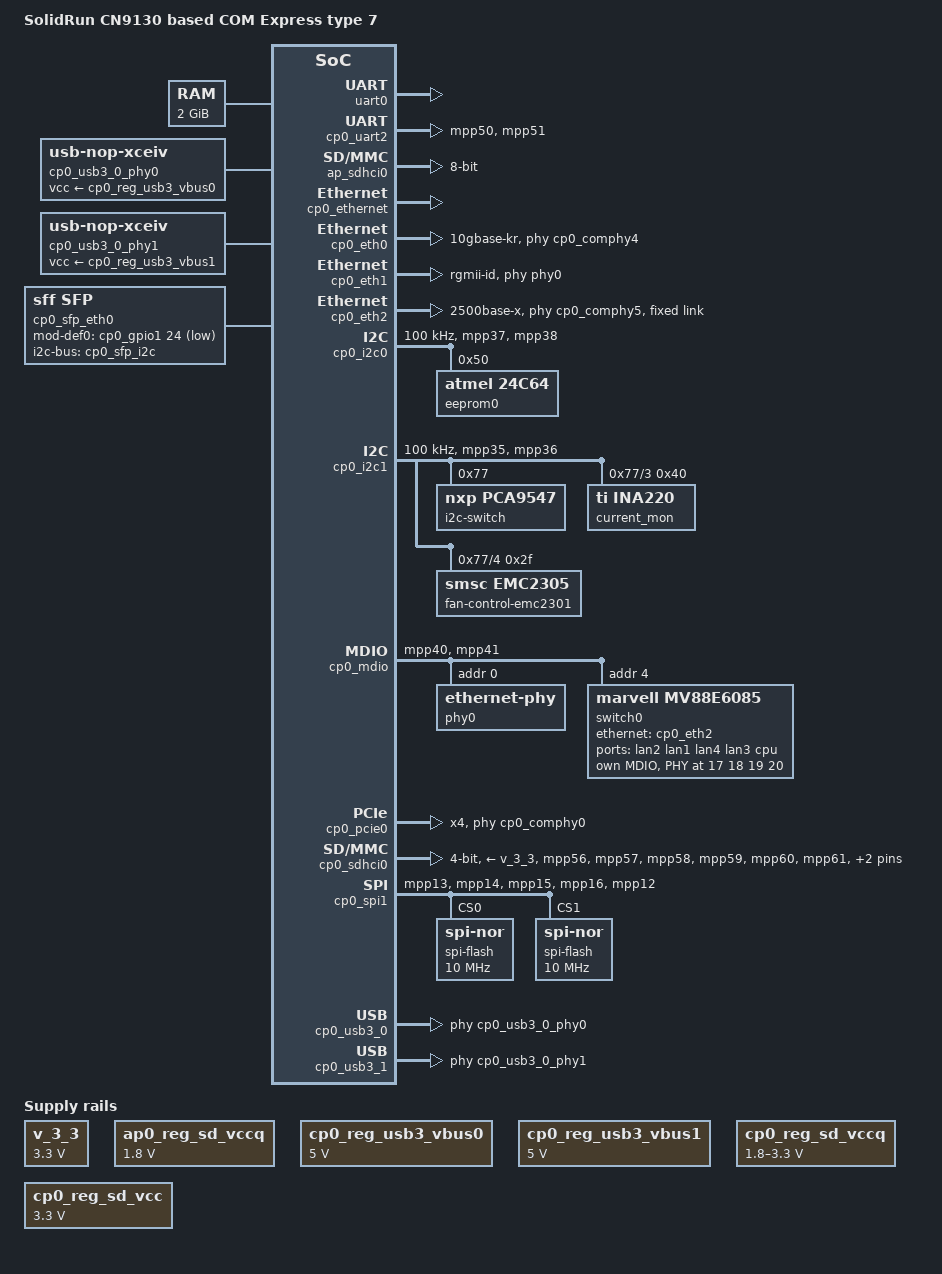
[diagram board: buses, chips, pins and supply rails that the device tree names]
// SPDX-License-Identifier: (GPL-2.0+ OR MIT)
/*
 * Copyright SolidRun Ltd.
 *
 * Device tree for the  CN9130 based COM Express type 7 board.
 */

#define GPIO_ACTIVE_HIGH 0
#define GPIO_ACTIVE_LOW  1

#include "cn9130.dtsi"

/ {
        model = "SolidRun CN9130 based COM Express type 7";

        chosen {
                stdout-path = "serial0:115200n8";
        };

        aliases {
                gpio1 = &cp0_gpio1;
                gpio2 = &cp0_gpio2;
                i2c0 = &cp0_i2c0;
                ethernet0 = &cp0_eth0; // SFP+ Port
                ethernet1 = &cp0_eth1; // RGMII
                ethernet2 = &cp0_eth2; // HS-SGMII
                spi1 = &cp0_spi0;
                spi2 = &cp0_spi1;
        };

        memory@00000000 {
                device_type = "memory";
                reg = <0x0 0x0 0x0 0x80000000>;
        };
        v_3_3: regulator-3-3v {
                compatible = "regulator-fixed";
                regulator-name = "v_3_3";
                regulator-min-microvolt = <3300000>;
                regulator-max-microvolt = <3300000>;
                regulator-always-on;
                status = "okay";
        };
        ap0_reg_sd_vccq: ap0_sd_vccq@0 {
                compatible = "regulator-gpio";
                regulator-name = "ap0_sd_vccq";
                regulator-min-microvolt = <1800000>;
                regulator-max-microvolt = <1800000>;
                states = <1800000 0x1 3300000 0x0>;
        };

        cp0_reg_usb3_vbus0: cp0_usb3_vbus@0 {
                compatible = "regulator-fixed";
                regulator-name = "cp0-xhci0-vbus";
                regulator-min-microvolt = <5000000>;
                regulator-max-microvolt = <5000000>;
                enable-active-high;
        };

        cp0_usb3_0_phy0: cp0_usb3_phy@0 {
                compatible = "usb-nop-xceiv";
                vcc-supply = <&cp0_reg_usb3_vbus0>;
        };

        cp0_reg_usb3_vbus1: cp0_usb3_vbus@1 {
                compatible = "regulator-fixed";
                regulator-name = "cp0-xhci1-vbus";
                regulator-min-microvolt = <5000000>;
                regulator-max-microvolt = <5000000>;
                enable-active-high;
        };

        cp0_usb3_0_phy1: cp0_usb3_phy@1 {
                compatible = "usb-nop-xceiv";
                vcc-supply = <&cp0_reg_usb3_vbus1>;
        };

        cp0_reg_sd_vccq: cp0_sd_vccq@0 {
                compatible = "regulator-gpio";
                regulator-name = "cp0_sd_vccq";
                regulator-min-microvolt = <1800000>;
                regulator-max-microvolt = <3300000>;
                states = <1800000 0x1
                        3300000 0x0>;
        };

        cp0_reg_sd_vcc: cp0_sd_vcc@0 {
                compatible = "regulator-fixed";
                regulator-name = "cp0_sd_vcc";
                regulator-min-microvolt = <3300000>;
                regulator-max-microvolt = <3300000>;
                enable-active-high;
                regulator-always-on;
        };

        cp0_sfp_eth0: sfp-eth@0 {
                compatible = "sff,sfp";
                i2c-bus = <&cp0_sfp_i2c>;
                mod-def0-gpio = <&cp0_gpio1 24 GPIO_ACTIVE_LOW>;
                pinctrl-names = "default";
                pinctrl-0 = <&cp0_sfp_present_pins>;
        };
};

&uart0 {
        status = "okay";
};

&cp0_uart2 {
        pinctrl-names = "default";
        pinctrl-0 = <&cp0_uart2_pins>;
        status = "okay";
};

/* on-board eMMC  */
&ap_sdhci0 {
        pinctrl-names = "default";
        bus-width = <8>;
        vqmmc-supply = <&ap0_reg_sd_vccq>;
        status = "okay";
};

&cp0_crypto {
        status = "disabled";
};

&cp0_ethernet {
        status = "okay";
};

/* SFP+ 10GE */
&cp0_eth0 {
        status = "okay";
        phy-mode = "10gbase-kr";
        phys = <&cp0_comphy4 0>;
        managed = "in-band-status";
        sfp = <&cp0_sfp_eth0>;
};

/* RGMII 1GE */
&cp0_eth1 {
        status = "okay";
        phy = <&phy0>;
        phy-mode = "rgmii-id";
};

&cp0_gpio1 {
        status = "okay";
};

&cp0_gpio2 {
        status = "okay";
};

/* Switch uplink */
&cp0_eth2 {
        status = "okay";
        phy-mode = "2500base-x";
        phys = <&cp0_comphy5 2>;

        fixed-link {
                speed = <2500>;
                full-duplex;
        };
};


/* EEPROM */
&cp0_i2c0 {
        status = "okay";
        pinctrl-names = "default";
        pinctrl-0 = <&cp0_i2c0_pins>;
        clock-frequency = <100000>;
        /* EEPROM */
        eeprom0: eeprom@50 {
                compatible = "atmel,24c64";
                reg = <0x50>;
                pagesize = <0x20>;
        };
};

/* I2C Master */
&cp0_i2c1 {
        status = "okay";
        clock-frequency = <100000>;
        pinctrl-names = "default";
        pinctrl-0 = <&cp0_i2c1_pins>;

        i2c-switch@77 {
                compatible = "nxp,pca9547";
                reg = <0x77>;
                 #address-cells = <1>;
                #size-cells = <0>;
                clk_gen_i2c: i2c@0 {
                        #address-cells = <1>;
                        #size-cells = <0>;
                        reg = <0>;
                        /*connected to clk generator*/
                };
                led_i2c: i2c@1 {
                        #address-cells = <1>;
                        #size-cells = <0>;
                        reg = <1>;
                        /* i2c_led connected to gpio expander on carrier according to com-ex type7 */
                };
                cp0_sfp_i2c: i2c@2 {
                        #address-cells = <1>;
                        #size-cells = <0>;
                        reg = <2>;
                        /*connected to sfp cp0_eth0*/
                };

                smbus: i2c@3 {
                        #address-cells = <1>;
                        #size-cells = <0>;
                        reg = <3>;
                        /* smbus connected to com-ex type7 connector */
                        current_mon@40 {
                                compatible = "ti,ina220";
                                #address-cells = <1>;
                                #size-cells = <0>;
                                reg = <0x40>;
                        };
                };

                therm_i2c: i2c@4 {
                        #address-cells = <1>;
                        #size-cells = <0>;
                        reg = <4>;

                        fan-control-emc2301@2f {
                                compatible = "smsc,emc2305";
                                #address-cells = <1>;
                                #size-cells = <0>;
                                reg = <0x2f>;
                                fan@0 {
                                        reg = <0>;
                                        pwm-enable = <0>;
                                        fan-div = <4>;
                                };
                        };
                };
        };
};
&cp0_mdio {
        status = "okay";
        pinctrl-0 = <&cp0_ge_mdio_pins>;
        phy0: ethernet-phy@0 {
                marvell,reg-init = <3 16 0 0x1a4a>;
                reg = <0>;
        };

        switch0: switch0@4 {
                compatible = "marvell,mv88e6085";
                reg = <4>;
                pinctrl-names = "default";

                ports {
                        #address-cells = <1>;
                        #size-cells = <0>;
                        port@1 {
                                reg = <1>;
                                label = "lan2";
                                phy-handle = <&switch0phy0>;
                        };

                        port@2 {
                                reg = <2>;
                                label = "lan1";
                                phy-handle = <&switch0phy1>;
                        };

                        port@3 {
                                reg = <3>;
                                label = "lan4";
                                phy-handle = <&switch0phy2>;
                        };

                        port@4 {
                                reg = <4>;
                                label = "lan3";
                                phy-handle = <&switch0phy3>;
                        };

                        port@5 {
                                reg = <5>;
                                label = "cpu";
                                ethernet = <&cp0_eth2>;
                                phy-mode = "2500base-x";
                                fixed-link {
                                        speed = <2500>;
                                        full-duplex;
                                };
                        };
                };

                mdio {
                        #address-cells = <1>;
                        #size-cells = <0>;

                        switch0phy0: switch0phy0@11 {
                                reg = <0x11>;
                        };

                        switch0phy1: switch0phy1@12 {
                                reg = <0x12>;
                        };

                        switch0phy2: switch0phy2@13 {
                                reg = <0x13>;
                        };

                        switch0phy3: switch0phy3@14 {
                                reg = <0x14>;
                        };
                };
        };
};

/* PCIE X4 Slot */
&cp0_pcie0 {
        status = "okay";
        num-lanes = <4>;
        num-viewport = <8>;
        /* Generic PHY, providing serdes lanes */
        phys = <&cp0_comphy0 0
                &cp0_comphy1 0
                &cp0_comphy2 0
                &cp0_comphy3 0>;
};

/* PCIE X1 Slot */
/*
*&cp0_pcie2 {
*        status = "okay";
*        phys = <&cp0_comphy5 2>;
*        num-lanes = <1>;
*};
*/

/* SD Card */
&cp0_sdhci0 {
        status = "okay";
        pinctrl-names = "default";
        pinctrl-0 = <&cp0_sdhci_pins
                        &cp0_sdhci_cd_pins>;
        bus-width = <4>;
        cd-gpios = <&cp0_gpio2 24 GPIO_ACTIVE_LOW>;
        no-1-8-v;
        vqmmc-supply = <&v_3_3>;
        vmmc-supply = <&v_3_3>;
};

&cp0_spi1 {
        status = "okay";
        pinctrl-names = "default";
        pinctrl-0 = <&cp0_spi1_pins
                        &cp0_spi1_cs1_pins>;
        reg = <0x700680 0x50>;
        spi-flash@0 {
                #address-cells = <0x1>;
                #size-cells = <0x1>;
                compatible = "jedec,spi-nor";
                reg = <0x0>;
                spi-max-frequency = <10000000>;
        };
        spi-flash@1 {
                #address-cells = <0x1>;
                #size-cells = <0x1>;
                compatible = "jedec,spi-nor";
                reg = <0x1>;
                /* On carrier MUX does not allow higher frequencies */
                spi-max-frequency = <10000000>;
        };
};

&cp0_syscon0 {
        cp0_pinctrl: pinctrl {
                compatible = "marvell,cp115-standalone-pinctrl";

                cp0_ge_mdio_pins: ge-mdio-pins {
                        marvell,pins = "mpp40", "mpp41";
                               marvell,function = "ge";
                };

                cp0_i2c0_pins: cp0-i2c-pins-0 {
                        marvell,pins = "mpp37", "mpp38";
                        marvell,function = "i2c0";
                };
                cp0_i2c1_pins: cp0-i2c-pins-1 {
                        marvell,pins = "mpp35", "mpp36";
                        marvell,function = "i2c1";
                };
                cp0_ge1_rgmii_pins: cp0-ge-rgmii-pins-0 {
                        marvell,pins =        "mpp0", "mpp1", "mpp2",
                                        "mpp3", "mpp4", "mpp5",
                                        "mpp6", "mpp7", "mpp8",
                                        "mpp9", "mpp10", "mpp11";
                        marvell,function = "ge0";
                };
                cp0_sdhci_cd_pins: cp0-sdhci-cd-pins-0 {
                        marvell,pins = "mpp55";
                        marvell,function = "sdio";
                };
                cp0_sdhci_pins: cp0-sdhi-pins-0 {
                        marvell,pins =        "mpp56", "mpp57", "mpp58",
                                        "mpp59", "mpp60", "mpp61";
                        marvell,function = "sdio";
                };
                cp0_spi1_pins: cp0-spi-pins-1 {
                        marvell,pins = "mpp13", "mpp14", "mpp15", "mpp16";
                        marvell,function = "spi1";
                };
                cp0_spi1_cs1_pins: cp0-spi-cs1-pins-1 {
                        marvell,pins = "mpp12";
                        marvell,function = "spi1";
                };

                cp0_sfp_present_pins: sfp-present-pins {
                        marvell,pins = "mpp24";
                        marvell,function = "gpio";
                };
                cp0_uart2_pins: uart22-pins {
                        marvell,pins = "mpp50", "mpp51";
                        marvell,function = "uart2";
                };

        };
};

&cp0_usb3_0 {
        status = "okay";
        usb-phy = <&cp0_usb3_0_phy0>;
        phy-names = "usb";
};

&cp0_usb3_1 {
        status = "okay";
        usb-phy = <&cp0_usb3_0_phy1>;
        phy-names = "usb";
};
